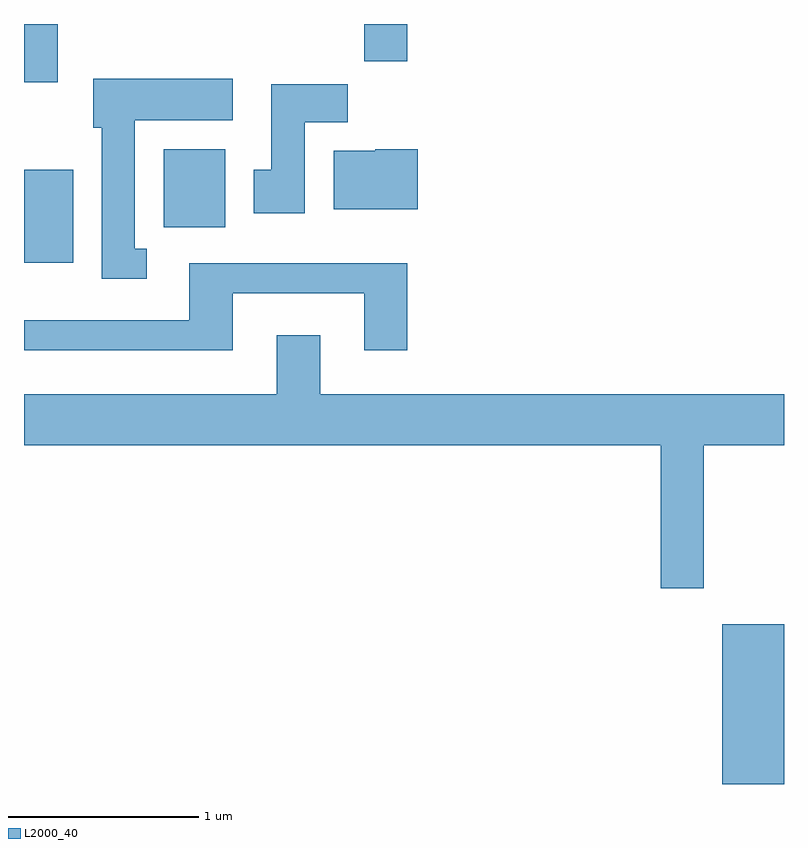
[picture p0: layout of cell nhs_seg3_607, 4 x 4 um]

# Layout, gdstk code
import gdstk
lib = gdstk.Library(unit=1e-6, precision=1e-09)
def R(c, l, rs):  # rectangles x0, y0, x1, y1
    for r in rs: c.add(gdstk.rectangle(r[:2], r[2:], *l))
def P(c, l, *ps):  # polygons
    for p in ps: c.add(gdstk.Polygon(p, *l))
L2000_40 = (2000, 40)

nhs_seg3_607 = lib.new_cell('nhs_seg3_607')
R(nhs_seg3_607, L2000_40, [(205.286,1241.892,205.611,1242.734), (201.611,1244.636,201.869,1245.124), (202.346,1244.821,202.669,1245.234), (201.611,1245.586,201.789,1245.892), (203.401,1245.696,203.629,1245.892)])
P(nhs_seg3_607, L2000_40, [(202.258,1244.709),(202.194,1244.709),(202.194,1245.386),(202.709,1245.386),(202.709,1245.604),(201.976,1245.604),(201.976,1245.346),(202.021,1245.346),(202.021,1244.551),(202.258,1244.551)],
  [(203.089,1245.376),(203.314,1245.376),(203.314,1245.574),(202.911,1245.574),(202.911,1245.124),(202.821,1245.124),(202.821,1244.896),(203.089,1244.896)],
  [(203.684,1245.234),(203.46,1245.234),(203.46,1245.224),(203.241,1245.224),(203.241,1244.916),(203.684,1244.916)],
  [(202.709,1244.476),(203.401,1244.476),(203.401,1244.176),(203.629,1244.176),(203.629,1244.634),(202.481,1244.634),(202.481,1244.334),(201.611,1244.334),(201.611,1244.176),(202.709,1244.176)],
  [(205.189,1243.676),(205.611,1243.676),(205.611,1243.944),(203.169,1243.944),(203.169,1244.254),(202.941,1244.254),(202.941,1243.944),(201.611,1243.944),(201.611,1243.676),(204.961,1243.676),(204.961,1242.921),(205.189,1242.921)])

lib.write_gds('nhs_seg3_607.gds')
